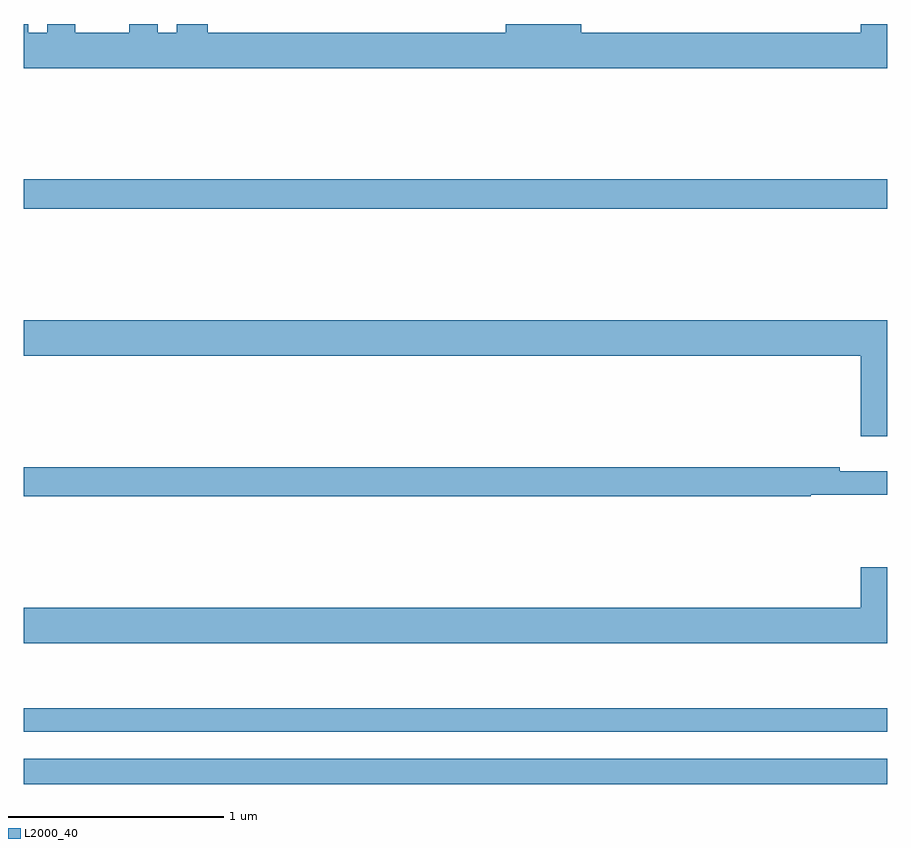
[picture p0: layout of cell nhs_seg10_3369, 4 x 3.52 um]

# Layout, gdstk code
import gdstk
lib = gdstk.Library(unit=1e-6, precision=1e-09)
def R(c, l, rs):  # rectangles x0, y0, x1, y1
    for r in rs: c.add(gdstk.rectangle(r[:2], r[2:], *l))
def P(c, l, *ps):  # polygons
    for p in ps: c.add(gdstk.Polygon(p, *l))
L2000_40 = (2000, 40)

nhs_seg10_3369 = lib.new_cell('nhs_seg10_3369')
R(nhs_seg10_3369, L2000_40, [(293,1316.98,297,1317.096), (293,1317.222,297,1317.331), (293,1319.644,297,1319.78)])
P(nhs_seg10_3369, L2000_40, [(297,1320.5),(296.876,1320.5),(296.876,1320.46),(295.582,1320.46),(295.582,1320.5),(295.232,1320.5),(295.232,1320.46),(293.852,1320.46),(293.852,1320.5),(293.708,1320.5),(293.708,1320.46),(293.62,1320.46),(293.62,1320.5),(293.489,1320.5),(293.489,1320.46),(293.239,1320.46),(293.239,1320.5),(293.108,1320.5),(293.108,1320.46),(293.02,1320.46),(293.02,1320.5),(293,1320.5),(293,1320.296),(297,1320.296)],
  [(297,1319.128),(293,1319.128),(293,1318.964),(296.876,1318.964),(296.876,1318.59),(297,1318.59)],
  [(296.645,1318.32),(297,1318.32),(297,1318.429),(296.78,1318.429),(296.78,1318.448),(293,1318.448),(293,1318.312),(296.645,1318.312)],
  [(297,1317.985),(296.876,1317.985),(296.876,1317.796),(293,1317.796),(293,1317.632),(297,1317.632)])

lib.write_gds('nhs_seg10_3369.gds')
